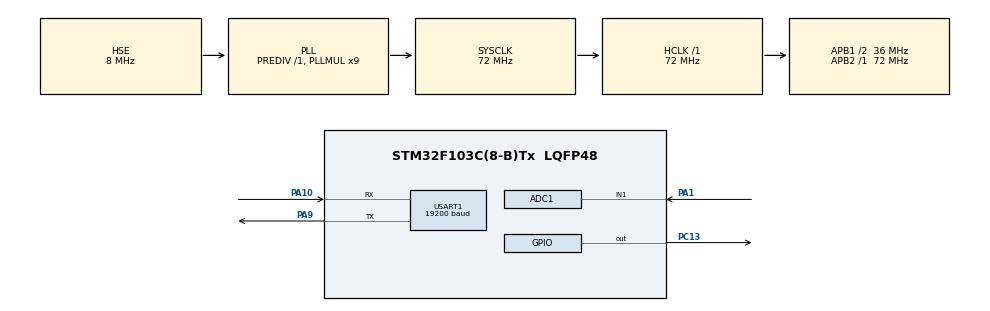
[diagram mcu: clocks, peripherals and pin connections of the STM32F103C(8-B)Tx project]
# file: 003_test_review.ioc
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ADC1.Channel-6\#ChannelRegularConversion=ADC_CHANNEL_1
ADC1.ContinuousConvMode=ENABLE
ADC1.NbrOfConversionFlag=1
ADC1.Rank-6\#ChannelRegularConversion=1
ADC1.SamplingTime-6\#ChannelRegularConversion=ADC_SAMPLETIME_1CYCLE_5
ADC1.master=1
Mcu.Family=STM32F1
Mcu.Name=STM32F103C(8-B)Tx
Mcu.Package=LQFP48
NVIC.PriorityGroup=NVIC_PRIORITYGROUP_4
NVIC.TIM3_IRQn=true\:0\:0\:false\:false\:true\:true\:true\:true
NVIC.USART1_IRQn=true\:0\:0\:false\:false\:true\:true\:true\:true
PA1.Signal=ADCx_IN1
PA10.Mode=Asynchronous
PA10.Signal=USART1_RX
PA9.Mode=Asynchronous
PA9.Signal=USART1_TX
PC13-TAMPER-RTC.Signal=GPIO_Output
PC14-OSC32_IN.Mode=LSE-External-Oscillator
PC14-OSC32_IN.Signal=RCC_OSC32_IN
PC15-OSC32_OUT.Mode=LSE-External-Oscillator
PC15-OSC32_OUT.Signal=RCC_OSC32_OUT
PD0-OSC_IN.Mode=HSE-External-Oscillator
PD0-OSC_IN.Signal=RCC_OSC_IN
PD1-OSC_OUT.Mode=HSE-External-Oscillator
PD1-OSC_OUT.Signal=RCC_OSC_OUT
ProjectManager.HeapSize=0x200
ProjectManager.StackSize=0x400
ProjectManager.TargetToolchain=Makefile
RCC.ADCPresc=RCC_ADCPCLK2_DIV6
RCC.AHBFreq_Value=72000000
RCC.APB1CLKDivider=RCC_HCLK_DIV2
RCC.APB1Freq_Value=36000000
RCC.APB1TimFreq_Value=72000000
RCC.APB2Freq_Value=72000000
RCC.APB2TimFreq_Value=72000000
RCC.HCLKFreq_Value=72000000
RCC.PLLMUL=RCC_PLL_MUL9
RCC.PLLSourceVirtual=RCC_PLLSOURCE_HSE
RCC.SYSCLKFreq_VALUE=72000000
RCC.SYSCLKSource=RCC_SYSCLKSOURCE_PLLCLK
RCC.USBFreq_Value=72000000
SH.ADCx_IN1.0=ADC1_IN1,IN1
TIM3.Period=100
TIM3.Prescaler=720
USART1.BaudRate=19200
USART1.VirtualMode=VM_ASYNC
VP_SYS_VS_ND.Mode=No_Debug
VP_TIM3_VS_ClockSourceINT.Mode=Internal
board=custom

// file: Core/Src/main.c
/* USER CODE BEGIN Header */
/**
 ******************************************************************************
 * @file           : main.c
 * @brief          : Main program body
 ******************************************************************************
 * @attention
 *
 * Copyright (c) 2024 STMicroelectronics.
 * All rights reserved.
 *
 * This software is licensed under terms that can be found in the LICENSE file
 * in the root directory of this software component.
 * If no LICENSE file comes with this software, it is provided AS-IS.
 *
 ******************************************************************************
 */
/* USER CODE END Header */
#include "main.h"
#include "adc.h"
#include "gpio.h"
#include "stm32f1xx_hal_adc.h"
#include "tim.h"
#include "usart.h"
#include <stdint.h>

void SystemClock_Config(void);

/* USER CODE BEGIN 0 */

extern int sprintf(char *, const char *, ...);
extern unsigned int strlen(const char *);

/* 1000timer = 1s; u16_max = 65535 */
static uint16_t timer = 0;

void HAL_TIM_PeriodElapsedCallback(TIM_HandleTypeDef *htim) {
  if (htim->Instance == TIM3)
    timer++;
}

/* USER CODE END 0 */

int main(void) {

  /* MCU Configuration--------------------------------------------------------*/

  /* Reset of all peripherals, Initializes the Flash interface and the Systick.
   */
  HAL_Init();

  /* Configure the system clock */
  SystemClock_Config();

  /* Initialize all configured peripherals */
  MX_GPIO_Init();
  MX_ADC1_Init();
  MX_TIM3_Init();
  MX_USART1_UART_Init();
  /* USER CODE BEGIN 2 */

  HAL_TIM_Base_Start_IT(&htim3);
  HAL_ADC_Start(&hadc1);

  uint8_t data[16] = {0};
  uint32_t adc_value;

  /* USER CODE END 2 */

  /* Infinite loop */
  /* USER CODE BEGIN WHILE */
  while (1) {

    // sprintf((char *)data, "timer: %d\n", timer);
    // HAL_UART_Transmit(&huart1, data, strlen((char *)data), 1000);

    if (timer >= 1000) {

      adc_value = HAL_ADC_GetValue(&hadc1);
      sprintf((char *)data, "ADC value: %d\n", adc_value);
      HAL_UART_Transmit(&huart1, data, strlen((char *)data), 1000);

      HAL_GPIO_TogglePin(GPIOC, GPIO_PIN_13);

      timer = 0;
    }

    /* USER CODE END WHILE */

  }
}

void SystemClock_Config(void) {
  RCC_OscInitTypeDef RCC_OscInitStruct = {0};
  RCC_ClkInitTypeDef RCC_ClkInitStruct = {0};
  RCC_PeriphCLKInitTypeDef PeriphClkInit = {0};

  /** Initializes the RCC Oscillators according to the specified parameters
   * in the RCC_OscInitTypeDef structure.
   */
  RCC_OscInitStruct.OscillatorType = RCC_OSCILLATORTYPE_HSE;
  RCC_OscInitStruct.HSEState = RCC_HSE_ON;
  RCC_OscInitStruct.HSEPredivValue = RCC_HSE_PREDIV_DIV1;
  RCC_OscInitStruct.HSIState = RCC_HSI_ON;
  RCC_OscInitStruct.PLL.PLLState = RCC_PLL_ON;
  RCC_OscInitStruct.PLL.PLLSource = RCC_PLLSOURCE_HSE;
  RCC_OscInitStruct.PLL.PLLMUL = RCC_PLL_MUL9;
  if (HAL_RCC_OscConfig(&RCC_OscInitStruct) != HAL_OK) {
    Error_Handler();
  }

  /** Initializes the CPU, AHB and APB buses clocks
   */
  RCC_ClkInitStruct.ClockType = RCC_CLOCKTYPE_HCLK | RCC_CLOCKTYPE_SYSCLK |
                                RCC_CLOCKTYPE_PCLK1 | RCC_CLOCKTYPE_PCLK2;
  RCC_ClkInitStruct.SYSCLKSource = RCC_SYSCLKSOURCE_PLLCLK;
  RCC_ClkInitStruct.AHBCLKDivider = RCC_SYSCLK_DIV1;
  RCC_ClkInitStruct.APB1CLKDivider = RCC_HCLK_DIV2;
  RCC_ClkInitStruct.APB2CLKDivider = RCC_HCLK_DIV1;

  if (HAL_RCC_ClockConfig(&RCC_ClkInitStruct, FLASH_LATENCY_2) != HAL_OK) {
    Error_Handler();
  }
  PeriphClkInit.PeriphClockSelection = RCC_PERIPHCLK_ADC;
  PeriphClkInit.AdcClockSelection = RCC_ADCPCLK2_DIV6;
  if (HAL_RCCEx_PeriphCLKConfig(&PeriphClkInit) != HAL_OK) {
    Error_Handler();
  }
}

void Error_Handler(void) {
  /* USER CODE BEGIN Error_Handler_Debug */
  /* User can add his own implementation to report the HAL error return state
   */
  __disable_irq();
  while (1) {
  }
  /* USER CODE END Error_Handler_Debug */
}

#ifdef USE_FULL_ASSERT
/**
 * @brief  Reports the name of the source file and the source line number
 *         where the assert_param error has occurred.
 * @param  file: pointer to the source file name
 * @param  line: assert_param error line source number
 * @retval None
 */
void assert_failed(uint8_t *file, uint32_t line) {
  /* USER CODE BEGIN 6 */
  /* User can add his own implementation to report the file name and line
     number, ex: printf("Wrong parameters value: file %s on line %d\r\n",
     file, line) */
  /* USER CODE END 6 */
}
#endif /* USE_FULL_ASSERT */
